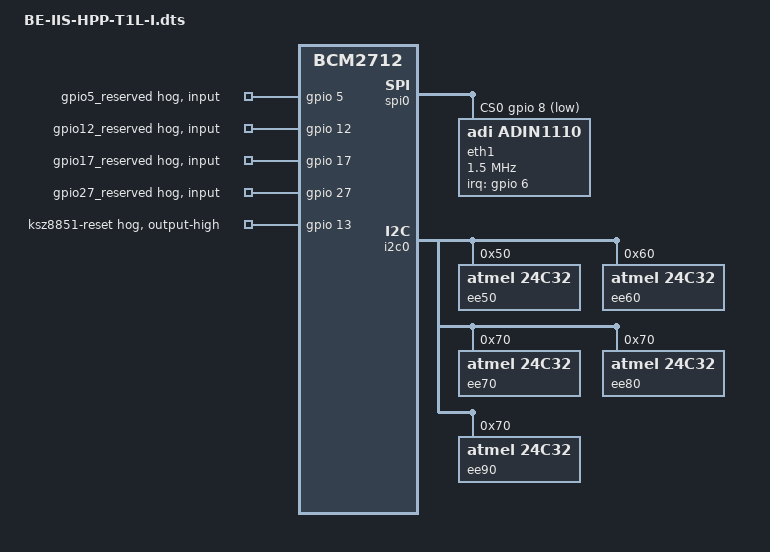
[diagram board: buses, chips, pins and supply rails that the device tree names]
// Raspberry Pi DT overlay: Analog Devices ADIN1110 on SPI0 (CE0)
// IRQ: BCM GPIO6 (active low / level low)
// SPI must be enabled in config.txt:
//     dtparam=spi=on
//
// Supported Raspberry Pi models (SPI0-based):
//   - Raspberry Pi Zero / Zero W / Zero 2 W
//   - Raspberry Pi 1 (A/B/B+)
//   - Raspberry Pi 2 (v1.1 / v1.2)
//   - Raspberry Pi 3 (3A+, 3B, 3B+)
//   - Raspberry Pi 4 (4B, 400, CM4)
//   - Raspberry Pi 5
//
// Notes:
//   - Uses SPI0 + CE0
//   - Uses BCM GPIO numbering
//   - Works across bcm2835 / bcm2711 / bcm2712
//   - ADIN1110 requires an external PHY subnode
//   - INT_N is usually active low, therefore LEVEL_LOW is used here


/dts-v1/;
/plugin/;

#include <dt-bindings/interrupt-controller/irq.h>
#include <dt-bindings/gpio/gpio.h>

/ {
	/*
	 * RPi firmware doesn’t really *use* this for overlays, but keeping it sane helps.
	 * Works across Pi Zero / 2 / 3 / 4 / 5
	 */
	compatible = "brcm,bcm2835", "brcm,bcm2711", "brcm,bcm2712";

	fragment@0 {
		target = <&spi0>;
		__overlay__ {
			/* avoid dtc warnings */
			#address-cells = <1>;
			#size-cells = <0>;
			status = "okay";

			/* Extend SPI0 to 3 chip-selects */
			num-cs = <3>;
			cs-gpios =
				<&gpio 8  GPIO_ACTIVE_LOW>,   /* CE0 */
				<&gpio 7  GPIO_ACTIVE_LOW>,   /* CE1 */
				<&gpio 16 GPIO_ACTIVE_LOW>;   /* CS2 */

			/*
			 * ADIN1110 on SPI0, chip select 0 (CE0)
			 * Interrupt on GPIO6, active low / level low
			 */
			eth1: ethernet@0 {
				compatible = "adi,adin1110";
				reg = <0>; /* CE0 */

				/* 10 Mbps over 10BASE-T1L usually needs high SPI clock */
				/* start conservative if needed, increase later */
				spi-max-frequency = <1500000>;

				/* optional SPI CRC checking */
				adi,spi-crc;

				interrupt-parent = <&gpio>;
				interrupts = <6 IRQ_TYPE_LEVEL_LOW>;

				/* optional fixed MAC address */
				mac-address = [ 02 00 00 00 00 01 ];

				#address-cells = <1>;
				#size-cells = <0>;
				status = "okay";

				phy@0 {
					compatible = "ethernet-phy-id0283.bc91";
					reg = <0>;

					/* 10BASE-T1L amplitude selection */
					phy-10base-t1l-2.4vpp = <1>;
				};

			};
		};
	};


	/* disable spidev on CE0 so the kernel can bind the LAN865x driver */
	fragment@1 {
		target = <&spidev0>;
		__overlay__ {
			status = "disabled";
		};
	};
	/* GPIO6 as input, no pull (IRQ pin) */
	fragment@2 {
		target = <&gpio>;
		__overlay__ {
			eth1_int_pins: eth1_int_pins {
				brcm,pins = <6>;
				brcm,function = <0>; /* input */
				brcm,pull = <0>;     /* none */
			};
		};
	};
	
	/* disable spidev on CE1 so the kernel can bind the LAN865x driver */
	fragment@3 {
		target = <&spidev1>;
		__overlay__ {
		status = "disabled";
		};
	};
	
	/* reserve GP5 */
	fragment@5 {
		target = <&gpio>;
		__overlay__ {
			gpio5_reserved: gpio5_reserved {
				gpio-hog;
				gpios = <5 GPIO_ACTIVE_HIGH>;
				input;
			};
		};
	};
	/* reserve GP12 */
	fragment@6 {
		target = <&gpio>;
		__overlay__ {
			gpio12_reserved: gpio12_reserved {
				gpio-hog;
				gpios = <12 GPIO_ACTIVE_HIGH>;
				input;
			};
		};
	};
	/* reserve GP17 */
	fragment@7 {
		target = <&gpio>;
		__overlay__ {
			gpio17_reserved: gpio17_reserved {
				gpio-hog;
				gpios = <17 GPIO_ACTIVE_HIGH>;
				input;
			};
		};
	};
	/* reserve GP27 */
	fragment@8 {
		target = <&gpio>;
		__overlay__ {
			gpio27_reserved: gpio27_reserved {
				gpio-hog;
				gpios = <27 GPIO_ACTIVE_HIGH>;
				input;
			};
		};
	};
	
	
	fragment@9 {
	target = <&i2c0>;
	__overlay__ {
		#address-cells = <1>;
		#size-cells = <0>;

		ee50: eeprom@50 {
			compatible = "atmel,24c32";
			reg = <0x50>;
			status = "okay";
		};
		
		ee60: eeprom@60 {
			compatible = "atmel,24c32";
			reg = <0x60>;
			status = "okay";
		};

		ee70: eeprom@70 {
			compatible = "atmel,24c32";
			reg = <0x70>;
			status = "okay";
		};
		
		ee80: eeprom@80 {
			compatible = "atmel,24c32";
			reg = <0x70>;
			status = "okay";
		};
		
		ee90: eeprom@90 {
			compatible = "atmel,24c32";
			reg = <0x70>;
			status = "okay";
		};
	};
};

fragment@10 {
	target = <&gpio>;
	__overlay__ {
		ksz8851_reset_high: ksz8851_reset_high {
			gpio-hog;
			gpios = <13 GPIO_ACTIVE_HIGH>;
			output-high;
			line-name = "ksz8851-reset";
		};
	};
};



	__overrides__ {

		speed    = <&eth1>, "spi-max-frequency:0";
	};
};

